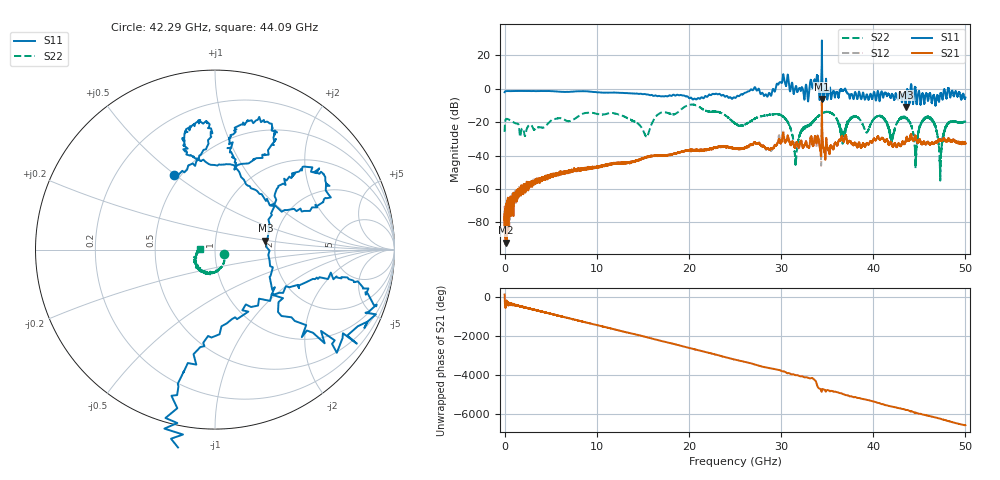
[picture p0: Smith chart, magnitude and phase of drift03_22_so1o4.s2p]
!Created with skrf (http://scikit-rf.org).
# Hz S RI R 50.0
!freq ReS11 ImS11 ReS21 ImS21 ReS12 ImS12 ReS22 ImS22
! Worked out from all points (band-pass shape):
!   10000 points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, 5.3 MHz to 50 GHz, reference 50 ohm
!   highest |S21| = -6.18 dB at 34.43 GHz (marker M1); lowest = -92.1 dB at 135.3 MHz (marker M2)
!   |S21| within 3 dB of the highest: 34.42768 GHz to 34.43449 GHz (6.808 MHz wide, 0.0198 % of centre)
!   lowest |S11| = -10.9 dB at 43.52 GHz (marker M3), VSWR 1.80, Z = 88.5 + j9.6 ohm
!   |S11| at or under -10 dB: 43.50187 GHz to 43.53806 GHz (36.18 MHz wide, 0.0831 % of centre); 46.74854 GHz to 46.75135 GHz (2.805 MHz wide, 0.006 % of centre)
!   |S22| runs from -55.0 to -9.4 dB; largest |S21 - S12| = 0.14
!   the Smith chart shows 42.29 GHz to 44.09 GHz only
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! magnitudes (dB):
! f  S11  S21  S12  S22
! 5.3 MHz  -2.1  -78.7  -81.0  -25.8
! 135.3 MHz  -1.4  -92.1  -71.2  -18.3
! 2.055 GHz  -1.3  -57.9  -59.1  -24.5
! 8.34 GHz  -1.5  -48.0  -48.0  -15.3
! 15.39 GHz  -3.5  -41.0  -40.7  -28.7
! 16.67 GHz  -4.4  -40.1  -40.2  -15.3
! 20.46 GHz  -6.5  -36.6  -36.8  -9.5
! 25.01 GHz  -5.5  -35.8  -36.0  -20.9
! 29.96 GHz  3.9  -32.7  -32.3  -15.8
! 31.61 GHz  1.6  -33.5  -33.6  -43.4
! 33.34 GHz  2.6  -30.1  -30.6  -20.4
! 34.43 GHz  28.9  -6.2  -8.1  -14.6
! 36.69 GHz  -1.3  -29.7  -29.9  -27.0
! 37.93 GHz  -4.9  -33.3  -33.3  -16.5
! 41.67 GHz  -3.1  -33.5  -33.5  -23.0
! 43.52 GHz  -10.9  -31.3  -31.6  -17.6
! 44.61 GHz  -1.0  -28.4  -28.8  -42.5
! 45.27 GHz  -3.9  -33.2  -33.0  -20.0
! 46.27 GHz  -5.2  -32.7  -32.7  -17.5
! 47.29 GHz  -3.0  -30.9  -30.9  -46.2
! 48.1 GHz  -0.1  -30.3  -30.3  -20.5
! 50 GHz  -5.3  -32.9  -32.5  -19.7
